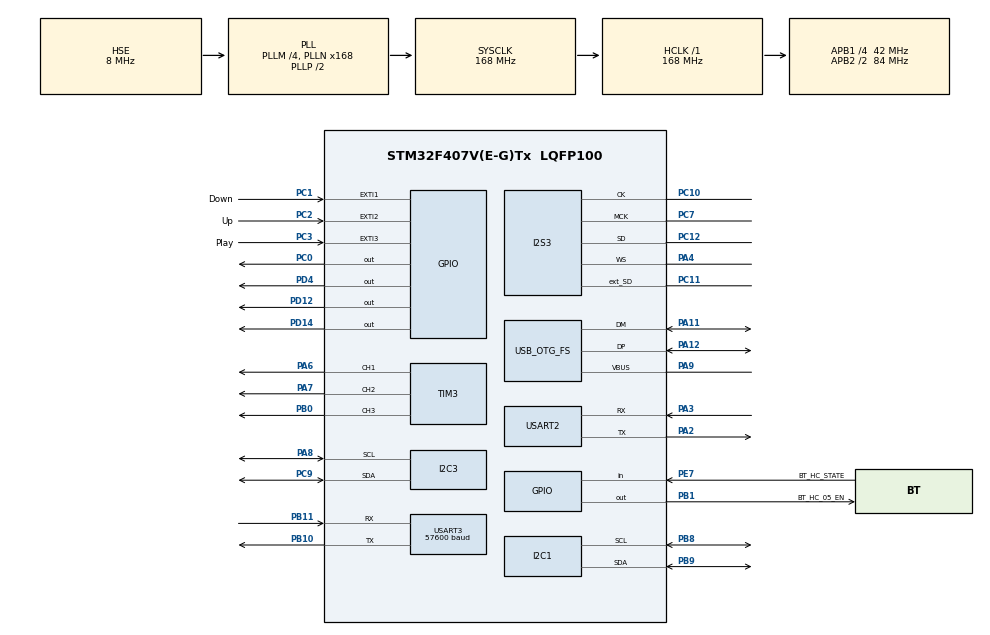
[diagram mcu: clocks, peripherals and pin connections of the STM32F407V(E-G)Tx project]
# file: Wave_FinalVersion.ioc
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Dma.Request0=SPI3_TX
Dma.Request1=USART3_RX
Dma.SPI3_TX.0.Direction=DMA_MEMORY_TO_PERIPH
Dma.SPI3_TX.0.FIFOMode=DMA_FIFOMODE_ENABLE
Dma.SPI3_TX.0.FIFOThreshold=DMA_FIFO_THRESHOLD_FULL
Dma.SPI3_TX.0.Instance=DMA1_Stream5
Dma.SPI3_TX.0.MemBurst=DMA_MBURST_INC8
Dma.SPI3_TX.0.MemDataAlignment=DMA_MDATAALIGN_HALFWORD
Dma.SPI3_TX.0.MemInc=DMA_MINC_ENABLE
Dma.SPI3_TX.0.Mode=DMA_NORMAL
Dma.SPI3_TX.0.PeriphBurst=DMA_PBURST_SINGLE
Dma.SPI3_TX.0.PeriphDataAlignment=DMA_PDATAALIGN_HALFWORD
Dma.SPI3_TX.0.PeriphInc=DMA_PINC_DISABLE
Dma.SPI3_TX.0.Priority=DMA_PRIORITY_LOW
Dma.USART3_RX.1.Direction=DMA_PERIPH_TO_MEMORY
Dma.USART3_RX.1.FIFOMode=DMA_FIFOMODE_DISABLE
Dma.USART3_RX.1.Instance=DMA1_Stream1
Dma.USART3_RX.1.MemDataAlignment=DMA_MDATAALIGN_BYTE
Dma.USART3_RX.1.MemInc=DMA_MINC_ENABLE
Dma.USART3_RX.1.Mode=DMA_NORMAL
Dma.USART3_RX.1.PeriphDataAlignment=DMA_PDATAALIGN_BYTE
Dma.USART3_RX.1.PeriphInc=DMA_PINC_DISABLE
Dma.USART3_RX.1.Priority=DMA_PRIORITY_LOW
FATFS._MAX_LFN=150
FATFS._MAX_SS=4096
FATFS._USE_LFN=3
FREERTOS.Tasks01=defaultTask,0,1024,StartDefaultTask,Default,NULL,Static,defaultTaskBuffer,defaultTaskControlBlock;ledTask,-1,1024,StartLedTask,Default,NULL,Static,ledTaskBuffer,ledTaskControlBlock;audioTask,-1,1024,StartAudioTask,Default,NULL,Static,audioTaskBuffer,audioTaskControlBlock;menuTask,-1,1024,StartMenuTask,Default,NULL,Static,menuTaskBuffer,menuTaskControlBlock
FREERTOS.configCHECK_FOR_STACK_OVERFLOW=2
FREERTOS.configUSE_NEWLIB_REENTRANT=1
I2C1.OwnAddress=0x33
I2S3.AudioFreq=I2S_AUDIOFREQ_48K
I2S3.ErrorAudioFreq=-2.34 %
I2S3.FullDuplexMode=I2S_FULLDUPLEXMODE_ENABLE
I2S3.Instance=SPI$Index
I2S3.RealAudioFreq=46.875 KHz
I2S3.VirtualMode=I2S_MODE_MASTER
Mcu.Family=STM32F4
Mcu.Name=STM32F407V(E-G)Tx
Mcu.Package=LQFP100
NVIC.DMA1_Stream1_IRQn=true\:5\:0\:false\:false\:true\:true\:false\:true
NVIC.DMA1_Stream5_IRQn=true\:5\:0\:false\:false\:true\:true\:false\:true
NVIC.EXTI1_IRQn=true\:5\:0\:false\:false\:true\:true\:true\:true
NVIC.EXTI2_IRQn=true\:5\:0\:false\:false\:true\:true\:true\:true
NVIC.EXTI3_IRQn=true\:5\:0\:false\:false\:true\:true\:true\:true
NVIC.OTG_FS_IRQn=true\:5\:0\:false\:false\:true\:true\:false\:true
NVIC.PriorityGroup=NVIC_PRIORITYGROUP_4
NVIC.TIM1_UP_TIM10_IRQn=true\:15\:0\:false\:false\:true\:false\:false\:true
NVIC.TIM3_IRQn=true\:5\:0\:false\:false\:true\:true\:true\:true
NVIC.TimeBase=TIM1_UP_TIM10_IRQn
NVIC.TimeBaseIP=TIM1
NVIC.USART3_IRQn=true\:5\:0\:false\:false\:true\:true\:true\:true
PA11.Mode=Host_Only
PA11.Signal=USB_OTG_FS_DM
PA12.Mode=Host_Only
PA12.Signal=USB_OTG_FS_DP
PA13.Mode=Serial_Wire
PA13.Signal=SYS_JTMS-SWDIO
PA14.Mode=Serial_Wire
PA14.Signal=SYS_JTCK-SWCLK
PA2.Mode=Asynchronous
PA2.Signal=USART2_TX
PA3.Mode=Asynchronous
PA3.Signal=USART2_RX
PA4.Mode=Full_Duplex_Master
PA4.Signal=I2S3_WS
PA6.GPIO_Speed=GPIO_SPEED_FREQ_HIGH
PA6.Signal=S_TIM3_CH1
PA7.GPIO_Speed=GPIO_SPEED_FREQ_HIGH
PA7.Signal=S_TIM3_CH2
PA8.Mode=I2C
PA8.Signal=I2C3_SCL
PA9.Mode=Activate_VBUS
PA9.Signal=USB_OTG_FS_VBUS
PB0.GPIO_Speed=GPIO_SPEED_FREQ_HIGH
PB0.Signal=S_TIM3_CH3
PB1.GPIO_Label=BT_HC_05_EN
PB1.PinState=GPIO_PIN_SET
PB1.Signal=GPIO_Output
PB10.Mode=Asynchronous
PB10.Signal=USART3_TX
PB11.Mode=Asynchronous
PB11.Signal=USART3_RX
PB8.Mode=I2C
PB8.Signal=I2C1_SCL
PB9.Mode=I2C
PB9.Signal=I2C1_SDA
PC0.Signal=GPIO_Output
PC1.GPIO_Label=Down
PC1.GPIO_PuPd=GPIO_PULLDOWN
PC1.Signal=GPXTI1
PC10.Mode=Full_Duplex_Master
PC10.Signal=I2S3_CK
PC11.Mode=Full_Duplex_Master
PC11.Signal=I2S3_ext_SD
PC12.Mode=Full_Duplex_Master
PC12.Signal=I2S3_SD
PC14-OSC32_IN.Mode=LSE-External-Oscillator
PC14-OSC32_IN.Signal=RCC_OSC32_IN
PC15-OSC32_OUT.Mode=LSE-External-Oscillator
PC15-OSC32_OUT.Signal=RCC_OSC32_OUT
PC2.GPIO_Label=Up
PC2.GPIO_PuPd=GPIO_PULLDOWN
PC2.Signal=GPXTI2
PC3.GPIO_Label=Play
PC3.GPIO_PuPd=GPIO_PULLDOWN
PC3.Signal=GPXTI3
PC7.Mode=Master_Clock_Activated
PC7.Signal=I2S3_MCK
PC9.Mode=I2C
PC9.Signal=I2C3_SDA
PD12.Signal=GPIO_Output
PD14.Signal=GPIO_Output
PD4.GPIO_PuPd=GPIO_PULLDOWN
PD4.GPIO_Speed=GPIO_SPEED_FREQ_MEDIUM
PD4.Signal=GPIO_Output
PE7.GPIO_Label=BT_HC_STATE
PE7.Signal=GPIO_Input
PH0-OSC_IN.Mode=HSE-External-Oscillator
PH0-OSC_IN.Signal=RCC_OSC_IN
PH1-OSC_OUT.Mode=HSE-External-Oscillator
PH1-OSC_OUT.Signal=RCC_OSC_OUT
ProjectManager.HeapSize=0x1000
ProjectManager.StackSize=0x2000
ProjectManager.TargetToolchain=STM32CubeIDE
RCC.48MHZClocksFreq_Value=48000000
RCC.AHBFreq_Value=168000000
RCC.APB1CLKDivider=RCC_HCLK_DIV4
RCC.APB1Freq_Value=42000000
RCC.APB1TimFreq_Value=84000000
RCC.APB2CLKDivider=RCC_HCLK_DIV2
RCC.APB2Freq_Value=84000000
RCC.APB2TimFreq_Value=168000000
RCC.CortexFreq_Value=168000000
RCC.HCLKFreq_Value=168000000
RCC.HSE_VALUE=8000000
RCC.HSI_VALUE=16000000
RCC.PLLM=4
RCC.PLLN=168
RCC.PLLQ=7
RCC.SYSCLKFreq_VALUE=168000000
RCC.SYSCLKSource=RCC_SYSCLKSOURCE_PLLCLK
RCC.VCOOutputFreq_Value=336000000
SH.S_TIM3_CH1.0=TIM3_CH1,PWM Generation1 CH1
SH.S_TIM3_CH2.0=TIM3_CH2,PWM Generation2 CH2
SH.S_TIM3_CH3.0=TIM3_CH3,PWM Generation3 CH3
TIM2.Period=0xFFFFFFFF-1
TIM2.Prescaler=83
TIM3.Channel-PWM\ Generation1\ CH1=TIM_CHANNEL_1
TIM3.Channel-PWM\ Generation2\ CH2=TIM_CHANNEL_2
TIM3.Channel-PWM\ Generation3\ CH3=TIM_CHANNEL_3
USART2.VirtualMode=VM_ASYNC
USART3.BaudRate=57600
USART3.VirtualMode=VM_ASYNC
USB_HOST.BSP.number=1
USB_HOST.USBH_HandleTypeDef-MSC_FS=hUsbHostFS
USB_HOST.USBH_PROCESS_STACK_SIZE-MSC_FS=256
USB_HOST.USBH_USE_OS-MSC_FS=0
USB_HOST.VirtualModeFS=Msc
USB_HOST0.BSP.STBoard=false
USB_HOST0.BSP.api=Unknown
USB_HOST0.BSP.i2caddr=0
USB_HOST0.BSP.instance=PC0
USB_HOST0.BSP.ip=GPIO
USB_HOST0.BSP.mode=Output
USB_HOST0.BSP.name=Drive_VBUS_FS
USB_HOST0.BSP.solution=PC0
USB_OTG_FS.VirtualMode=Host_Only
USB_OTG_FS.phy_itface=HCD_PHY_EMBEDDED
VP_FATFS_VS_USB.Mode=USB
VP_FREERTOS_VS_CMSIS_V1.Mode=CMSIS_V1
VP_RNG_VS_RNG.Mode=RNG_Activate
VP_SYS_VS_tim1.Mode=TIM1
VP_TIM2_VS_ClockSourceINT.Mode=Internal
VP_USB_HOST_VS_USB_HOST_MSC_FS.Mode=MSC_FS
board=custom

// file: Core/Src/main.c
/* USER CODE BEGIN Header */
/**
  ******************************************************************************
  * @file           : main.c
  * @brief          : Main program body
  ******************************************************************************
  * @attention
  *
  * <h2><center>&copy; Copyright (c) 2022 STMicroelectronics.
  * All rights reserved.</center></h2>
  *
  * This software component is licensed by ST under BSD 3-Clause license,
  * the "License"; You may not use this file except in compliance with the
  * License. You may obtain a copy of the License at:
  *                        opensource.org/licenses/BSD-3-Clause
  *
  ******************************************************************************
  */
/* USER CODE END Header */
#include "main.h"
#include "cmsis_os.h"
#include "fatfs.h"
#include "usb_host.h"

/* USER CODE BEGIN Includes */
#include "lcd.h"
#include "stdio.h"
#include "stdbool.h"
#include "audioplay.h"
#include "bt_hc_05_driver.h"
#include "Necomimi/necomimi_queue.h"
#include "Necomimi/necomimi_packet.h"

/* USER CODE END Includes */

/* USER CODE BEGIN PD */
extern ApplicationTypeDef Appli_state;
/* USER CODE END PD */

I2C_HandleTypeDef hi2c1;
I2C_HandleTypeDef hi2c3;

I2S_HandleTypeDef hi2s3;
DMA_HandleTypeDef hdma_spi3_tx;

RNG_HandleTypeDef hrng;

TIM_HandleTypeDef htim2;
TIM_HandleTypeDef htim3;

UART_HandleTypeDef huart2;
UART_HandleTypeDef huart3;
DMA_HandleTypeDef hdma_usart3_rx;

osThreadId defaultTaskHandle;
uint32_t defaultTaskBuffer[ 1024 ];
osStaticThreadDef_t defaultTaskControlBlock;
osThreadId ledTaskHandle;
uint32_t ledTaskBuffer[ 1024 ];
osStaticThreadDef_t ledTaskControlBlock;
osThreadId audioTaskHandle;
uint32_t audioTaskBuffer[ 1024 ];
osStaticThreadDef_t audioTaskControlBlock;
osThreadId menuTaskHandle;
uint32_t menuTaskBuffer[ 1024 ];
osStaticThreadDef_t menuTaskControlBlock;
/* USER CODE BEGIN PV */
extern volatile int menuState;
extern volatile int menuDown;
extern volatile int menuUp;
extern volatile int menuPlay;
extern volatile int menuIndex;
extern volatile int nFiles;

volatile int playing_changed;

extern uint8_t retUSBH;    /* Return value for USBH */
extern char USBHPath[4];   /* USBH logical drive path */
extern FATFS USBHFatFS;    /* File system object for USBH logical drive */
extern FIL USBHFile;       /* File object for USBH */

uint8_t usb_ok = 0;
bool test_readyToPlay = false;

FIL MyFile;                   /* File object */
FIL ConFile;
FIL WavFile;

char FilNam[20][50];

extern USBH_HandleTypeDef hUsbHostFS;

extern volatile AUDIO_StateMachine     Audio;
WAVE_FormatTypeDef *waveformat =  NULL;
uint32_t WaveDataLength = 0;
char str[100];
char FileName[100]={0};
uint8_t info[44];

uint8_t index_inplay = -1;

uint8_t playing_now=0;
uint8_t flag_opt =0;//flag showing that the current option now is playing.
uint8_t switch_opt = 0;//?????? ????? ????. ???.
uint8_t flag_stop_light = 0;

/* USER CODE END PV */

void SystemClock_Config(void);
static void MX_GPIO_Init(void);
static void MX_TIM3_Init(void);
static void MX_I2C1_Init(void);
static void MX_DMA_Init(void);
static void MX_I2S3_Init(void);
static void MX_I2C3_Init(void);
static void MX_TIM2_Init(void);
static void MX_RNG_Init(void);
static void MX_USART3_UART_Init(void);
static void MX_USART2_UART_Init(void);
void StartDefaultTask(void const * argument);
void StartLedTask(void const * argument);
void StartAudioTask(void const * argument);
void StartMenuTask(void const * argument);

/* USER CODE BEGIN 0 */

void vApplicationStackOverflowHook(xTaskHandle xTask, signed char *pcTaskName)
{
	HAL_GPIO_TogglePin(GPIOD, GPIO_PIN_14);
   /* Run time stack overflow checking is performed if
   configCHECK_FOR_STACK_OVERFLOW is defined to 1 or 2. This hook function is
   called if a stack overflow is detected. */
}
static void GetFileList(void)
{
	FRESULT result; /* FatFs function common result code */
	/* File read buffer */

	DIR dir;
//   nFiles = 0;
	static FILINFO fileInfo;

	result = f_opendir(&dir, "/");

	if (result == FR_OK) //FR_NOT_ENABLED
	{
		result = f_readdir(&dir, &fileInfo); //??? ???? ????? ? ????? ???????? system volume
		while (((result = f_readdir(&dir, &fileInfo)) == FR_OK)
				&& fileInfo.fname[0])
		{
			if (strstr(fileInfo.fname, ".wav"))
			{
				uint32_t nameSizeInBytes = strlen(fileInfo.fname);
				strncpy(FilNam[nFiles], fileInfo.fname, nameSizeInBytes);

				nFiles++;
			}
		}
	}
	f_closedir(&dir);
}

void GetFileInfo(void)
{
   LCD_Clear();
   if(f_open(&WavFile,FilNam[menuIndex], FA_OPEN_EXISTING | FA_READ)==FR_OK)
   {
      uint32_t duration;
      uint32_t bytesread;
      if(f_read(&WavFile, info, 44, (void*)&bytesread)==FR_OK)
      {
         waveformat=(WAVE_FormatTypeDef*)info;
         sprintf((char*)str, "%d", (int)(waveformat->SampleRate));
         sprintf((char*)str, " %d", (int)(waveformat->NbrChannels));
         duration = waveformat->FileSize / waveformat->ByteRate;
         sprintf((char*)str, " %d %02d:%02d", (int)(waveformat->FileSize/1024),
                 (int)duration/60, (int)duration%60);
      }
      f_close(&WavFile);
   }
}
void MenuProcess(void)
{
	switch (Audio.state)
	{
		case AUDIO_IDLE:
			Audio.state = AUDIO_WAIT;
			break;
		case AUDIO_WAIT:
			LCD_SetPos(0, 0);
			f_close(&WavFile);
			GetFileInfo(); // TODO: BACK
			AudioPlay_Init(waveformat->SampleRate);
			WaveDataLength = waveformat->FileSize;
			Audio.state = AUDIO_PLAYBACK;
			break;
		case AUDIO_EXPLORE:
			break;
		case AUDIO_PLAYBACK:
			WaveDataLength = waveformat->FileSize;
			// TODO: FileName - нужно заменить на File
			if (f_open(&WavFile, FilNam[menuIndex], FA_OPEN_EXISTING | FA_READ) == FR_OK) {
				AudioPlay_Start(waveformat->SampleRate);
				f_close(&WavFile);
			}
			//LCD_Clear();
			sprintf(FileName, FilNam[menuIndex]);
			Audio.state = AUDIO_IDLE;
			menuPlay = 1; ///////////////////////////////////////////play is always 1
			// state = 1;
			break;
		case AUDIO_IN:
			break;
		default:
			break;
	}
}

#define RED    TIM3->CCR2
#define GREEN    TIM3->CCR3
#define BLUE    TIM3->CCR1

#define TOP    65535

volatile uint16_t BPM=120;
volatile uint16_t Nature=255;
volatile uint16_t Dynamic=0;

/* USER CODE END 0 */

int main(void)
{

  /* MCU Configuration--------------------------------------------------------*/

  /* Reset of all peripherals, Initializes the Flash interface and the Systick. */
  HAL_Init();

  /* Configure the system clock */
  SystemClock_Config();

  /* Initialize all configured peripherals */
  MX_GPIO_Init();
  MX_FATFS_Init();
  MX_TIM3_Init();
  MX_I2C1_Init();
  MX_DMA_Init();
  MX_I2S3_Init();
  MX_I2C3_Init();
  MX_TIM2_Init();
  MX_RNG_Init();
  MX_USART3_UART_Init();
  MX_USART2_UART_Init();

  /* Create the thread(s) */
  /* definition and creation of defaultTask */
  osThreadStaticDef(defaultTask, StartDefaultTask, osPriorityNormal, 0, 1024, defaultTaskBuffer, &defaultTaskControlBlock);
  defaultTaskHandle = osThreadCreate(osThread(defaultTask), NULL);

  /* definition and creation of ledTask */
  osThreadStaticDef(ledTask, StartLedTask, osPriorityBelowNormal, 0, 1024, ledTaskBuffer, &ledTaskControlBlock);
  ledTaskHandle = osThreadCreate(osThread(ledTask), NULL);

  /* definition and creation of audioTask */
  osThreadStaticDef(audioTask, StartAudioTask, osPriorityBelowNormal, 0, 1024, audioTaskBuffer, &audioTaskControlBlock);
  audioTaskHandle = osThreadCreate(osThread(audioTask), NULL);

  /* definition and creation of menuTask */
  osThreadStaticDef(menuTask, StartMenuTask, osPriorityBelowNormal, 0, 1024, menuTaskBuffer, &menuTaskControlBlock);
  menuTaskHandle = osThreadCreate(osThread(menuTask), NULL);

  /* Start scheduler */
  osKernelStart();

  /* We should never get here as control is now taken by the scheduler */
  /* Infinite loop */
  while (1)
  {

  }
}

void SystemClock_Config(void)
{
  RCC_OscInitTypeDef RCC_OscInitStruct = {0};
  RCC_ClkInitTypeDef RCC_ClkInitStruct = {0};

  /** Configure the main internal regulator output voltage
  */
  __HAL_RCC_PWR_CLK_ENABLE();
  __HAL_PWR_VOLTAGESCALING_CONFIG(PWR_REGULATOR_VOLTAGE_SCALE1);
  /** Initializes the RCC Oscillators according to the specified parameters
  * in the RCC_OscInitTypeDef structure.
  */
  RCC_OscInitStruct.OscillatorType = RCC_OSCILLATORTYPE_HSE;
  RCC_OscInitStruct.HSEState = RCC_HSE_ON;
  RCC_OscInitStruct.PLL.PLLState = RCC_PLL_ON;
  RCC_OscInitStruct.PLL.PLLSource = RCC_PLLSOURCE_HSE;
  RCC_OscInitStruct.PLL.PLLM = 4;
  RCC_OscInitStruct.PLL.PLLN = 168;
  RCC_OscInitStruct.PLL.PLLP = RCC_PLLP_DIV2;
  RCC_OscInitStruct.PLL.PLLQ = 7;
  if (HAL_RCC_OscConfig(&RCC_OscInitStruct) != HAL_OK)
  {
    Error_Handler();
  }
  /** Initializes the CPU, AHB and APB buses clocks
  */
  RCC_ClkInitStruct.ClockType = RCC_CLOCKTYPE_HCLK|RCC_CLOCKTYPE_SYSCLK
                              |RCC_CLOCKTYPE_PCLK1|RCC_CLOCKTYPE_PCLK2;
  RCC_ClkInitStruct.SYSCLKSource = RCC_SYSCLKSOURCE_PLLCLK;
  RCC_ClkInitStruct.AHBCLKDivider = RCC_SYSCLK_DIV1;
  RCC_ClkInitStruct.APB1CLKDivider = RCC_HCLK_DIV4;
  RCC_ClkInitStruct.APB2CLKDivider = RCC_HCLK_DIV2;

  if (HAL_RCC_ClockConfig(&RCC_ClkInitStruct, FLASH_LATENCY_5) != HAL_OK)
  {
    Error_Handler();
  }
}

static void MX_I2C1_Init(void)
{

  hi2c1.Instance = I2C1;
  hi2c1.Init.ClockSpeed = 100000;
  hi2c1.Init.DutyCycle = I2C_DUTYCYCLE_2;
  hi2c1.Init.OwnAddress1 = 102;
  hi2c1.Init.AddressingMode = I2C_ADDRESSINGMODE_7BIT;
  hi2c1.Init.DualAddressMode = I2C_DUALADDRESS_DISABLE;
  hi2c1.Init.OwnAddress2 = 0;
  hi2c1.Init.GeneralCallMode = I2C_GENERALCALL_DISABLE;
  hi2c1.Init.NoStretchMode = I2C_NOSTRETCH_DISABLE;
  if (HAL_I2C_Init(&hi2c1) != HAL_OK)
  {
    Error_Handler();
  }

}

static void MX_I2C3_Init(void)
{

  hi2c3.Instance = I2C3;
  hi2c3.Init.ClockSpeed = 100000;
  hi2c3.Init.DutyCycle = I2C_DUTYCYCLE_2;
  hi2c3.Init.OwnAddress1 = 0;
  hi2c3.Init.AddressingMode = I2C_ADDRESSINGMODE_7BIT;
  hi2c3.Init.DualAddressMode = I2C_DUALADDRESS_DISABLE;
  hi2c3.Init.OwnAddress2 = 0;
  hi2c3.Init.GeneralCallMode = I2C_GENERALCALL_DISABLE;
  hi2c3.Init.NoStretchMode = I2C_NOSTRETCH_DISABLE;
  if (HAL_I2C_Init(&hi2c3) != HAL_OK)
  {
    Error_Handler();
  }

}

static void MX_I2S3_Init(void)
{

  hi2s3.Instance = SPI3;
  hi2s3.Init.Mode = I2S_MODE_MASTER_TX;
  hi2s3.Init.Standard = I2S_STANDARD_PHILIPS;
  hi2s3.Init.DataFormat = I2S_DATAFORMAT_16B;
  hi2s3.Init.MCLKOutput = I2S_MCLKOUTPUT_ENABLE;
  hi2s3.Init.AudioFreq = I2S_AUDIOFREQ_48K;
  hi2s3.Init.CPOL = I2S_CPOL_LOW;
  hi2s3.Init.ClockSource = I2S_CLOCK_PLL;
  hi2s3.Init.FullDuplexMode = I2S_FULLDUPLEXMODE_ENABLE;
  if (HAL_I2S_Init(&hi2s3) != HAL_OK)
  {
    Error_Handler();
  }

}

static void MX_RNG_Init(void)
{

  hrng.Instance = RNG;
  if (HAL_RNG_Init(&hrng) != HAL_OK)
  {
    Error_Handler();
  }

}

static void MX_TIM2_Init(void)
{

  TIM_ClockConfigTypeDef sClockSourceConfig = {0};
  TIM_MasterConfigTypeDef sMasterConfig = {0};

  htim2.Instance = TIM2;
  htim2.Init.Prescaler = 83;
  htim2.Init.CounterMode = TIM_COUNTERMODE_UP;
  htim2.Init.Period = 0xFFFFFFFF-1;
  htim2.Init.ClockDivision = TIM_CLOCKDIVISION_DIV1;
  htim2.Init.AutoReloadPreload = TIM_AUTORELOAD_PRELOAD_DISABLE;
  if (HAL_TIM_Base_Init(&htim2) != HAL_OK)
  {
    Error_Handler();
  }
  sClockSourceConfig.ClockSource = TIM_CLOCKSOURCE_INTERNAL;
  if (HAL_TIM_ConfigClockSource(&htim2, &sClockSourceConfig) != HAL_OK)
  {
    Error_Handler();
  }
  sMasterConfig.MasterOutputTrigger = TIM_TRGO_RESET;
  sMasterConfig.MasterSlaveMode = TIM_MASTERSLAVEMODE_DISABLE;
  if (HAL_TIMEx_MasterConfigSynchronization(&htim2, &sMasterConfig) != HAL_OK)
  {
    Error_Handler();
  }

}

static void MX_TIM3_Init(void)
{

  TIM_MasterConfigTypeDef sMasterConfig = {0};
  TIM_OC_InitTypeDef sConfigOC = {0};

  htim3.Instance = TIM3;
  htim3.Init.Prescaler = 0;
  htim3.Init.CounterMode = TIM_COUNTERMODE_UP;
  htim3.Init.Period = 65535;
  htim3.Init.ClockDivision = TIM_CLOCKDIVISION_DIV1;
  htim3.Init.AutoReloadPreload = TIM_AUTORELOAD_PRELOAD_DISABLE;
  if (HAL_TIM_PWM_Init(&htim3) != HAL_OK)
  {
    Error_Handler();
  }
  sMasterConfig.MasterOutputTrigger = TIM_TRGO_RESET;
  sMasterConfig.MasterSlaveMode = TIM_MASTERSLAVEMODE_DISABLE;
  if (HAL_TIMEx_MasterConfigSynchronization(&htim3, &sMasterConfig) != HAL_OK)
  {
    Error_Handler();
  }
  sConfigOC.OCMode = TIM_OCMODE_PWM1;
  sConfigOC.Pulse = 0;
  sConfigOC.OCPolarity = TIM_OCPOLARITY_HIGH;
  sConfigOC.OCFastMode = TIM_OCFAST_DISABLE;
  if (HAL_TIM_PWM_ConfigChannel(&htim3, &sConfigOC, TIM_CHANNEL_1) != HAL_OK)
  {
    Error_Handler();
  }
  if (HAL_TIM_PWM_ConfigChannel(&htim3, &sConfigOC, TIM_CHANNEL_2) != HAL_OK)
  {
    Error_Handler();
  }
  if (HAL_TIM_PWM_ConfigChannel(&htim3, &sConfigOC, TIM_CHANNEL_3) != HAL_OK)
  {
    Error_Handler();
  }
  HAL_TIM_MspPostInit(&htim3);

}

static void MX_USART2_UART_Init(void)
{

  huart2.Instance = USART2;
  huart2.Init.BaudRate = 115200;
  huart2.Init.WordLength = UART_WORDLENGTH_8B;
  huart2.Init.StopBits = UART_STOPBITS_1;
  huart2.Init.Parity = UART_PARITY_NONE;
  huart2.Init.Mode = UART_MODE_TX_RX;
  huart2.Init.HwFlowCtl = UART_HWCONTROL_NONE;
  huart2.Init.OverSampling = UART_OVERSAMPLING_16;
  if (HAL_UART_Init(&huart2) != HAL_OK)
  {
    Error_Handler();
  }

}

static void MX_USART3_UART_Init(void)
{

  huart3.Instance = USART3;
  huart3.Init.BaudRate = 57600;
  huart3.Init.WordLength = UART_WORDLENGTH_8B;
  huart3.Init.StopBits = UART_STOPBITS_1;
  huart3.Init.Parity = UART_PARITY_NONE;
  huart3.Init.Mode = UART_MODE_TX_RX;
  huart3.Init.HwFlowCtl = UART_HWCONTROL_NONE;
  huart3.Init.OverSampling = UART_OVERSAMPLING_16;
  if (HAL_UART_Init(&huart3) != HAL_OK)
  {
    Error_Handler();
  }

}

static void MX_DMA_Init(void)
{

  /* DMA controller clock enable */
  __HAL_RCC_DMA1_CLK_ENABLE();

  /* DMA interrupt init */
  /* DMA1_Stream1_IRQn interrupt configuration */
  HAL_NVIC_SetPriority(DMA1_Stream1_IRQn, 5, 0);
  HAL_NVIC_EnableIRQ(DMA1_Stream1_IRQn);
  /* DMA1_Stream5_IRQn interrupt configuration */
  HAL_NVIC_SetPriority(DMA1_Stream5_IRQn, 5, 0);
  HAL_NVIC_EnableIRQ(DMA1_Stream5_IRQn);

}

static void MX_GPIO_Init(void)
{
  GPIO_InitTypeDef GPIO_InitStruct = {0};

  /* GPIO Ports Clock Enable */
  __HAL_RCC_GPIOC_CLK_ENABLE();
  __HAL_RCC_GPIOH_CLK_ENABLE();
  __HAL_RCC_GPIOA_CLK_ENABLE();
  __HAL_RCC_GPIOB_CLK_ENABLE();
  __HAL_RCC_GPIOE_CLK_ENABLE();
  __HAL_RCC_GPIOD_CLK_ENABLE();

  /*Configure GPIO pin Output Level */
  HAL_GPIO_WritePin(GPIOC, GPIO_PIN_0, GPIO_PIN_RESET);

  /*Configure GPIO pin Output Level */
  HAL_GPIO_WritePin(BT_HC_05_EN_GPIO_Port, BT_HC_05_EN_Pin, GPIO_PIN_SET);

  /*Configure GPIO pin Output Level */
  HAL_GPIO_WritePin(GPIOD, GPIO_PIN_12|GPIO_PIN_14|GPIO_PIN_4, GPIO_PIN_RESET);

  /*Configure GPIO pin : PC0 */
  GPIO_InitStruct.Pin = GPIO_PIN_0;
  GPIO_InitStruct.Mode = GPIO_MODE_OUTPUT_PP;
  GPIO_InitStruct.Pull = GPIO_NOPULL;
  GPIO_InitStruct.Speed = GPIO_SPEED_FREQ_LOW;
  HAL_GPIO_Init(GPIOC, &GPIO_InitStruct);

  /*Configure GPIO pins : Down_Pin Up_Pin Play_Pin */
  GPIO_InitStruct.Pin = Down_Pin|Up_Pin|Play_Pin;
  GPIO_InitStruct.Mode = GPIO_MODE_IT_RISING;
  GPIO_InitStruct.Pull = GPIO_PULLDOWN;
  HAL_GPIO_Init(GPIOC, &GPIO_InitStruct);

  /*Configure GPIO pin : BT_HC_05_EN_Pin */
  GPIO_InitStruct.Pin = BT_HC_05_EN_Pin;
  GPIO_InitStruct.Mode = GPIO_MODE_OUTPUT_PP;
  GPIO_InitStruct.Pull = GPIO_NOPULL;
  GPIO_InitStruct.Speed = GPIO_SPEED_FREQ_LOW;
  HAL_GPIO_Init(BT_HC_05_EN_GPIO_Port, &GPIO_InitStruct);

  /*Configure GPIO pin : BT_HC_STATE_Pin */
  GPIO_InitStruct.Pin = BT_HC_STATE_Pin;
  GPIO_InitStruct.Mode = GPIO_MODE_INPUT;
  GPIO_InitStruct.Pull = GPIO_NOPULL;
  HAL_GPIO_Init(BT_HC_STATE_GPIO_Port, &GPIO_InitStruct);

  /*Configure GPIO pins : PD12 PD14 */
  GPIO_InitStruct.Pin = GPIO_PIN_12|GPIO_PIN_14;
  GPIO_InitStruct.Mode = GPIO_MODE_OUTPUT_PP;
  GPIO_InitStruct.Pull = GPIO_NOPULL;
  GPIO_InitStruct.Speed = GPIO_SPEED_FREQ_LOW;
  HAL_GPIO_Init(GPIOD, &GPIO_InitStruct);

  /*Configure GPIO pin : PD4 */
  GPIO_InitStruct.Pin = GPIO_PIN_4;
  GPIO_InitStruct.Mode = GPIO_MODE_OUTPUT_PP;
  GPIO_InitStruct.Pull = GPIO_PULLDOWN;
  GPIO_InitStruct.Speed = GPIO_SPEED_FREQ_MEDIUM;
  HAL_GPIO_Init(GPIOD, &GPIO_InitStruct);

  /* EXTI interrupt init*/
  HAL_NVIC_SetPriority(EXTI1_IRQn, 5, 0);
  HAL_NVIC_EnableIRQ(EXTI1_IRQn);

  HAL_NVIC_SetPriority(EXTI2_IRQn, 5, 0);
  HAL_NVIC_EnableIRQ(EXTI2_IRQn);

  HAL_NVIC_SetPriority(EXTI3_IRQn, 5, 0);
  HAL_NVIC_EnableIRQ(EXTI3_IRQn);

}

/* USER CODE BEGIN 4 */
void HAL_I2S_TxHalfCpltCallback(I2S_HandleTypeDef *hi2s3)
{
	if(hi2s3->Instance==I2S3)
	{
		AudioPlay_HalfTransfer_Callback();
	}
}

void HAL_I2S_TxCpltCallback(I2S_HandleTypeDef *hi2s3)
{
	if(hi2s3->Instance==I2S3)
	{
		AudioPlay_Transfer_Callback();
	}
}
/* USER CODE END 4 */

void StartDefaultTask(void const * argument)
{
  /* init code for USB_HOST */
  MX_USB_HOST_Init();
  /* USER CODE BEGIN 5 */
  /* Infinite loop */
  for(;;)
  {
	  uint32_t delayMs;

	  bool isBtInitialized = bt_state_machine_process_states(&delayMs, false);
	  if(!isBtInitialized)
	  {
		  bt_state_machine_start(&huart3, &hdma_usart3_rx);
	  }

	  osDelay(delayMs);
  }
  /* USER CODE END 5 */
}

/* USER CODE BEGIN Header_StartLedTask */
/**
* @brief Function implementing the ledTask thread.
* @param argument: Not used
* @retval None
*/

void fire_simulator_do_one_time_slot(uint16_t slotIndex)
{
	RED = slotIndex;
	GREEN = slotIndex*0.15;
	BLUE = slotIndex * 0;
}

uint8_t calc_alpha_wave_crc8(NecomimiPacketUnit const * const necomimiPacket)
{
	uint8_t crc8 = necomimiPacket->attentionLevel ^ necomimiPacket->meditationLevel;

	return crc8;
}
/* USER CODE END Header_StartLedTask */
void StartLedTask(void const * argument)
{
  /* USER CODE BEGIN StartLedTask */
	HAL_TIM_PWM_Start(&htim3, TIM_CHANNEL_1);
	HAL_TIM_PWM_Start(&htim3, TIM_CHANNEL_2);
	HAL_TIM_PWM_Start(&htim3, TIM_CHANNEL_3);

	uint32_t filterUpdTimeMs = 0;
	uint32_t writeFireTimeMs = 0;

	uint16_t writingValue = 0;
	uint16_t rndWritingValue = 0;

	float koefficient = 0.2;
  /* Infinite loop */
  for(;;)
  {
	  static NecomimiPacketUnit necomimiPacket;

	  uint32_t delayMs = 500;
	  if(necomimi_queue_deque(&necomimiPacket))
	  {
			static char bufferToUart2[100];

			uint8_t alphaWaveCrc = calc_alpha_wave_crc8(&necomimiPacket);
			sprintf(bufferToUart2, "$$CRC8=%d;A=%d;M=%d;#%d;$$\r\n", alphaWaveCrc,
				  necomimiPacket.attentionLevel,
				  necomimiPacket.meditationLevel,
				  necomimiPacket.packetNumber);

			HAL_UART_Transmit(&huart2, bufferToUart2, strlen(bufferToUart2), 100);

			static uint32_t clearLcdCounter = 0;
			if(clearLcdCounter % 10 == 0)
			{
			  LCD_Clear();

			}
			clearLcdCounter++;
			char bufferToLcd[25] = { 0 };

			sprintf(bufferToLcd, "A:%d M:%d C:%d", necomimiPacket.attentionLevel, necomimiPacket.meditationLevel, necomimi_get_elements_count());

			LCD_SetPos(0, 0);
			LCD_String(bufferToLcd);
	  }

	  osDelay(delayMs);
  }
  /* USER CODE END StartLedTask */
}

void StartAudioTask(void const * argument)
{
  /* USER CODE BEGIN StartAudioTask */
	HAL_TIM_Base_Start(&htim2);

	LCD_ini();
	LCD_Clear();

	LCD_SetPos(0, 0);
	LCD_String("Mark V");
	HAL_Delay(2000);
  /* Infinite loop */
  for(;;)
  {

	  if(playing_now)
	  {
		 MenuProcess();
	  }

//		char str[17];
//		sprintf(str, "u:%d|d:%d|i=%d|s:%d", menuUp, menuDown, menuIndex,
//				menuState);
//
//		LCD_Clear();
//		LCD_SetPos(0, 0);
//		LCD_String(str);

		osDelay(1);
  }
  /* USER CODE END StartAudioTask */
}

void StartMenuTask(void const * argument)
{
  /* USER CODE BEGIN StartMenuTask */
  /* Infinite loop */
	for (;;)
	{
		if (Appli_state == APPLICATION_READY && !usb_ok)
		{
			GetFileList();
			usb_ok = TRUE;
			menuState = 1;
			menuDown = 1;
		}
		else if (usb_ok)
		{
			if (playing_changed)
			{
				// GetConfig(); // Раньше так считывались конфигурационные файлы, в которых была информация о свет. сопровождении.
				switch_opt ^= 1;
				flag_stop_light = 1;
				playing_changed = 0;
			}
			if (menuState)
			{
				if (menuDown)
				{
					if (menuIndex % 2 == 0)
					{
						LCD_Clear();
						LCD_SetPos(0, 0);
						LCD_String(">");
						LCD_SetPos(1, 0);
						LCD_String(FilNam[menuIndex]);
						LCD_SetPos(0, 1);
						LCD_String(" ");
						LCD_SetPos(1, 1);
						LCD_String(FilNam[menuIndex + 1]);
					}
					else
					{
						LCD_Clear();
						LCD_SetPos(0, 0);
						LCD_String(" ");
						LCD_SetPos(1, 0);
						LCD_String(FilNam[menuIndex - 1]);
						LCD_SetPos(0, 1);
						LCD_String(">");
						LCD_SetPos(1, 1);
						LCD_String(FilNam[menuIndex]);
					}
					menuDown = 0;
				}
				if (menuUp)
				{
					if (menuIndex % 2 == 0)
					{
						LCD_Clear();
						LCD_SetPos(0, 0);
						LCD_String(">");
						LCD_SetPos(1, 0);
						LCD_String(FilNam[menuIndex]);
						LCD_SetPos(0, 1);
						LCD_String(" ");
						LCD_SetPos(1, 1);
						LCD_String(FilNam[menuIndex + 1]);
					}
					else
					{
						LCD_Clear();
						LCD_SetPos(0, 0);
						LCD_String(" ");
						LCD_SetPos(1, 0);
						LCD_String(FilNam[menuIndex - 1]);
						LCD_SetPos(0, 1);
						LCD_String(">");
						LCD_SetPos(1, 1);
						LCD_String(FilNam[menuIndex]);
					}
					menuUp = 0;
				}
				if (menuPlay == 1)
				{
					sprintf(FileName, FilNam[menuIndex]);

					if (playing_now == 0)
						playing_changed = 1;
					playing_now = 1;

				}
				menuState = 0;
			}
		}
		osDelay(1);
	}
  /* USER CODE END StartMenuTask */
}

void HAL_TIM_PeriodElapsedCallback(TIM_HandleTypeDef *htim)
{
  if (htim->Instance == TIM1) {
    HAL_IncTick();
  }
}

void Error_Handler(void)
{
  __disable_irq();
  while (1)
  {
  }
}

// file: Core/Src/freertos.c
/* USER CODE BEGIN Header */
/**
  ******************************************************************************
  * File Name          : freertos.c
  * Description        : Code for freertos applications
  ******************************************************************************
  * @attention
  *
  * <h2><center>&copy; Copyright (c) 2022 STMicroelectronics.
  * All rights reserved.</center></h2>
  *
  * This software component is licensed by ST under Ultimate Liberty license
  * SLA0044, the "License"; You may not use this file except in compliance with
  * the License. You may obtain a copy of the License at:
  *                             www.st.com/SLA0044
  *
  ******************************************************************************
  */
/* USER CODE END Header */

#include "FreeRTOS.h"
#include "task.h"
#include "main.h"

/* GetIdleTaskMemory prototype (linked to static allocation support) */
void vApplicationGetIdleTaskMemory( StaticTask_t **ppxIdleTaskTCBBuffer, StackType_t **ppxIdleTaskStackBuffer, uint32_t *pulIdleTaskStackSize );

/* Hook prototypes */
void vApplicationStackOverflowHook(xTaskHandle xTask, signed char *pcTaskName);

/* USER CODE BEGIN 4 */
__weak void vApplicationStackOverflowHook(xTaskHandle xTask, signed char *pcTaskName)
{
   /* Run time stack overflow checking is performed if
   configCHECK_FOR_STACK_OVERFLOW is defined to 1 or 2. This hook function is
   called if a stack overflow is detected. */
}
/* USER CODE END 4 */

/* USER CODE BEGIN GET_IDLE_TASK_MEMORY */
static StaticTask_t xIdleTaskTCBBuffer;
static StackType_t xIdleStack[configMINIMAL_STACK_SIZE];

void vApplicationGetIdleTaskMemory( StaticTask_t **ppxIdleTaskTCBBuffer, StackType_t **ppxIdleTaskStackBuffer, uint32_t *pulIdleTaskStackSize )
{
  *ppxIdleTaskTCBBuffer = &xIdleTaskTCBBuffer;
  *ppxIdleTaskStackBuffer = &xIdleStack[0];
  *pulIdleTaskStackSize = configMINIMAL_STACK_SIZE;
  /* place for user code */
}
/* USER CODE END GET_IDLE_TASK_MEMORY */
